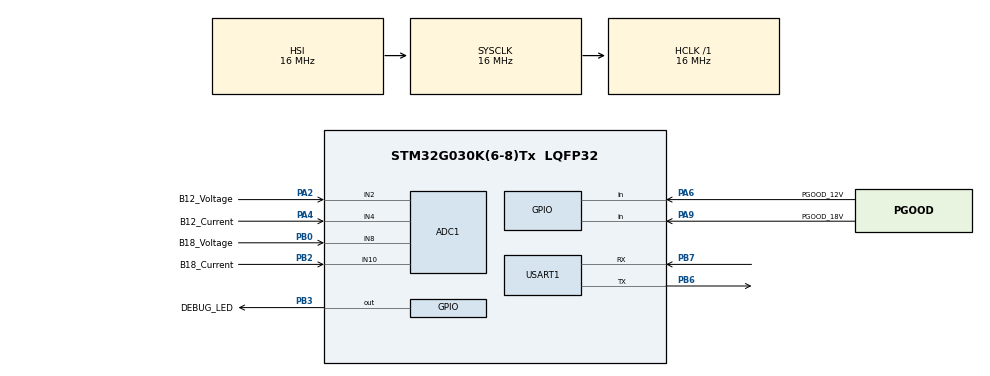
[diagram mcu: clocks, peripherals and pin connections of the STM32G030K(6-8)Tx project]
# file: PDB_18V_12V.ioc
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ADC1.Channel-1\#ChannelRegularConversion=ADC_CHANNEL_2
ADC1.NbrOfConversionFlag=1
ADC1.Rank-1\#ChannelRegularConversion=1
ADC1.SamplingTime-1\#ChannelRegularConversion=ADC_SAMPLINGTIME_COMMON_1
ADC1.SamplingTimeCommon1=ADC_SAMPLETIME_160CYCLES_5
ADC1.SamplingTimeCommon2=ADC_SAMPLETIME_160CYCLES_5
ADC1.SelectedChannel=ADC_CHANNEL_2|ADC_CHANNEL_4|ADC_CHANNEL_8|ADC_CHANNEL_10
ADC1.TriggerFrequencyMode=ADC_TRIGGER_FREQ_LOW
ADC1.master=1
Mcu.Family=STM32G0
Mcu.Name=STM32G030K(6-8)Tx
Mcu.Package=LQFP32
PA13.Mode=Serial_Wire
PA13.Signal=SYS_SWDIO
PA14-BOOT0.Mode=Serial_Wire
PA14-BOOT0.Signal=SYS_SWCLK
PA2.GPIO_Label=B12_Voltage
PA2.Mode=IN2
PA2.Signal=ADC1_IN2
PA4.GPIO_Label=B12_Current
PA4.Mode=IN4
PA4.Signal=ADC1_IN4
PA6.GPIO_Label=PGOOD_12V
PA6.Signal=GPIO_Input
PA9.GPIO_Label=PGOOD_18V
PA9.Signal=GPIO_Input
PB0.GPIO_Label=B18_Voltage
PB0.Mode=IN8
PB0.Signal=ADC1_IN8
PB2.GPIO_Label=B18_Current
PB2.Mode=IN10
PB2.Signal=ADC1_IN10
PB3.GPIO_Label=DEBUG_LED
PB3.Signal=GPIO_Output
PB6.Mode=Asynchronous
PB6.Signal=USART1_TX
PB7.Mode=Asynchronous
PB7.Signal=USART1_RX
ProjectManager.HeapSize=0x200
ProjectManager.StackSize=0x400
ProjectManager.TargetToolchain=STM32CubeIDE
RCC.AHBFreq_Value=16000000
RCC.CortexFreq_Value=16000000
RCC.EXTERNAL_CLOCK_VALUE=12288000
RCC.HCLKFreq_Value=16000000
RCC.HSE_VALUE=8000000
RCC.HSI_VALUE=16000000
RCC.LSE_VALUE=32768
RCC.SYSCLKFreq_VALUE=16000000
RCC.VCOOutputFreq_Value=128000000
USART1.VirtualMode-Asynchronous=VM_ASYNC
board=custom

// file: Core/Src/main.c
/* USER CODE BEGIN Header */
/**
  ******************************************************************************
  * @file           : main.c
  * @brief          : Main program body
  ******************************************************************************
  * @attention
  *
  * Copyright (c) 2026 STMicroelectronics.
  * All rights reserved.
  *
  * This software is licensed under terms that can be found in the LICENSE file
  * in the root directory of this software component.
  * If no LICENSE file comes with this software, it is provided AS-IS.
  *
  ******************************************************************************
  */
/* USER CODE END Header */
#include "main.h"

ADC_HandleTypeDef hadc1;

UART_HandleTypeDef huart1;

/* USER CODE BEGIN PV */

//[**********************Voltage/Current ADC****************************]//
/* Raw ADC readings */
uint32_t adc_18v_voltage_raw = 0;
uint32_t adc_18v_current_raw = 0;
uint32_t adc_12v_voltage_raw = 0;
uint32_t adc_12v_current_raw = 0;

/* ADC-converted voltages */
float adc_18v_voltage = 0.0f;
float adc_18v_current = 0.0f;
float adc_12v_voltage = 0.0f;
float adc_12v_current = 0.0f;

/* Calculated actual rail measurements */
float voltage_18v = 0.0f;
float current_18v = 0.0f;
float voltage_12v = 0.0f;
float current_12v = 0.0f;

//[**********************UART TX****************************]//
uint8_t uart_tx_packet[10];

/* USER CODE END PV */

void SystemClock_Config(void);
static void MX_GPIO_Init(void);
static void MX_USART1_UART_Init(void);
static void MX_ADC1_Init(void);

/* USER CODE BEGIN PFP */

//[**********************Voltage/Current ADC****************************]//
uint32_t ADC_Read_Channel(uint32_t channel);

float Calculate_18V_Voltage(float adc_voltage);
float Calculate_12V_Voltage(float adc_voltage);

float Calculate_Current(float adc_voltage);

//[**********************UART TX****************************]//

void UART_Send_Measurements(void);

/* USER CODE END PFP */

int main(void)
{

  /* MCU Configuration--------------------------------------------------------*/

  /* Reset of all peripherals, Initializes the Flash interface and the Systick. */
  HAL_Init();

  /* Configure the system clock */
  SystemClock_Config();

  /* Initialize all configured peripherals */
  MX_GPIO_Init();
  MX_USART1_UART_Init();
  MX_ADC1_Init();
  /* USER CODE BEGIN 2 */
  HAL_ADCEx_Calibration_Start(&hadc1);
  /* USER CODE END 2 */

  /* Infinite loop */
  while (1)
  {

    /* USER CODE BEGIN 3 */

  //[**********************Voltage/Current ADC****************************]//

	adc_18v_voltage_raw = ADC_Read_Channel(ADC_CHANNEL_2);

	adc_18v_voltage =
		((float)adc_18v_voltage_raw / 4095.0f) * 3.3f;

	voltage_18v = Calculate_18V_Voltage(adc_18v_voltage);

    adc_18v_current_raw = ADC_Read_Channel(ADC_CHANNEL_4);

    adc_18v_current =
        ((float)adc_18v_current_raw / 4095.0f) * 3.3f;

    current_18v = Calculate_Current(adc_18v_current);

    adc_12v_voltage_raw = ADC_Read_Channel(ADC_CHANNEL_8);

    adc_12v_voltage =
        ((float)adc_12v_voltage_raw / 4095.0f) * 3.3f;

    voltage_12v = Calculate_12V_Voltage(adc_12v_voltage);

    adc_12v_current_raw = ADC_Read_Channel(ADC_CHANNEL_10);

    adc_12v_current =
        ((float)adc_12v_current_raw / 4095.0f) * 3.3f;

    current_12v = Calculate_Current(adc_12v_current);

    //[**********************UART TX****************************]//
    UART_Send_Measurements();

    HAL_Delay(100);

    /* USER CODE END 3 */
  }
}

void SystemClock_Config(void)
{
  RCC_OscInitTypeDef RCC_OscInitStruct = {0};
  RCC_ClkInitTypeDef RCC_ClkInitStruct = {0};

  /** Configure the main internal regulator output voltage
  */
  HAL_PWREx_ControlVoltageScaling(PWR_REGULATOR_VOLTAGE_SCALE1);

  /** Initializes the RCC Oscillators according to the specified parameters
  * in the RCC_OscInitTypeDef structure.
  */
  RCC_OscInitStruct.OscillatorType = RCC_OSCILLATORTYPE_HSI;
  RCC_OscInitStruct.HSIState = RCC_HSI_ON;
  RCC_OscInitStruct.HSIDiv = RCC_HSI_DIV1;
  RCC_OscInitStruct.HSICalibrationValue = RCC_HSICALIBRATION_DEFAULT;
  RCC_OscInitStruct.PLL.PLLState = RCC_PLL_NONE;
  if (HAL_RCC_OscConfig(&RCC_OscInitStruct) != HAL_OK)
  {
    Error_Handler();
  }

  /** Initializes the CPU, AHB and APB buses clocks
  */
  RCC_ClkInitStruct.ClockType = RCC_CLOCKTYPE_HCLK|RCC_CLOCKTYPE_SYSCLK
                              |RCC_CLOCKTYPE_PCLK1;
  RCC_ClkInitStruct.SYSCLKSource = RCC_SYSCLKSOURCE_HSI;
  RCC_ClkInitStruct.AHBCLKDivider = RCC_SYSCLK_DIV1;
  RCC_ClkInitStruct.APB1CLKDivider = RCC_HCLK_DIV1;

  if (HAL_RCC_ClockConfig(&RCC_ClkInitStruct, FLASH_LATENCY_0) != HAL_OK)
  {
    Error_Handler();
  }
}

static void MX_ADC1_Init(void)
{

  ADC_ChannelConfTypeDef sConfig = {0};

  /** Configure the global features of the ADC (Clock, Resolution, Data Alignment and number of conversion)
  */
  hadc1.Instance = ADC1;
  hadc1.Init.ClockPrescaler = ADC_CLOCK_SYNC_PCLK_DIV2;
  hadc1.Init.Resolution = ADC_RESOLUTION_12B;
  hadc1.Init.DataAlign = ADC_DATAALIGN_RIGHT;
  hadc1.Init.ScanConvMode = ADC_SCAN_DISABLE;
  hadc1.Init.EOCSelection = ADC_EOC_SINGLE_CONV;
  hadc1.Init.LowPowerAutoWait = DISABLE;
  hadc1.Init.LowPowerAutoPowerOff = DISABLE;
  hadc1.Init.ContinuousConvMode = DISABLE;
  hadc1.Init.NbrOfConversion = 1;
  hadc1.Init.DiscontinuousConvMode = DISABLE;
  hadc1.Init.ExternalTrigConv = ADC_SOFTWARE_START;
  hadc1.Init.ExternalTrigConvEdge = ADC_EXTERNALTRIGCONVEDGE_NONE;
  hadc1.Init.DMAContinuousRequests = DISABLE;
  hadc1.Init.Overrun = ADC_OVR_DATA_PRESERVED;
  hadc1.Init.SamplingTimeCommon1 = ADC_SAMPLETIME_160CYCLES_5;
  hadc1.Init.SamplingTimeCommon2 = ADC_SAMPLETIME_160CYCLES_5;
  hadc1.Init.OversamplingMode = DISABLE;
  hadc1.Init.TriggerFrequencyMode = ADC_TRIGGER_FREQ_LOW;
  if (HAL_ADC_Init(&hadc1) != HAL_OK)
  {
    Error_Handler();
  }

  /** Configure Regular Channel
  */
  sConfig.Channel = ADC_CHANNEL_2;
  sConfig.Rank = ADC_REGULAR_RANK_1;
  sConfig.SamplingTime = ADC_SAMPLINGTIME_COMMON_1;
  if (HAL_ADC_ConfigChannel(&hadc1, &sConfig) != HAL_OK)
  {
    Error_Handler();
  }

}

static void MX_USART1_UART_Init(void)
{

  huart1.Instance = USART1;
  huart1.Init.BaudRate = 115200;
  huart1.Init.WordLength = UART_WORDLENGTH_8B;
  huart1.Init.StopBits = UART_STOPBITS_1;
  huart1.Init.Parity = UART_PARITY_NONE;
  huart1.Init.Mode = UART_MODE_TX_RX;
  huart1.Init.HwFlowCtl = UART_HWCONTROL_NONE;
  huart1.Init.OverSampling = UART_OVERSAMPLING_16;
  huart1.Init.OneBitSampling = UART_ONE_BIT_SAMPLE_DISABLE;
  huart1.Init.ClockPrescaler = UART_PRESCALER_DIV1;
  huart1.AdvancedInit.AdvFeatureInit = UART_ADVFEATURE_NO_INIT;
  if (HAL_UART_Init(&huart1) != HAL_OK)
  {
    Error_Handler();
  }
  if (HAL_UARTEx_SetTxFifoThreshold(&huart1, UART_TXFIFO_THRESHOLD_1_8) != HAL_OK)
  {
    Error_Handler();
  }
  if (HAL_UARTEx_SetRxFifoThreshold(&huart1, UART_RXFIFO_THRESHOLD_1_8) != HAL_OK)
  {
    Error_Handler();
  }
  if (HAL_UARTEx_DisableFifoMode(&huart1) != HAL_OK)
  {
    Error_Handler();
  }

}

static void MX_GPIO_Init(void)
{
  GPIO_InitTypeDef GPIO_InitStruct = {0};

  /* GPIO Ports Clock Enable */
  __HAL_RCC_GPIOA_CLK_ENABLE();
  __HAL_RCC_GPIOB_CLK_ENABLE();

  /*Configure GPIO pin Output Level */
  HAL_GPIO_WritePin(DEBUG_LED_GPIO_Port, DEBUG_LED_Pin, GPIO_PIN_RESET);

  /*Configure GPIO pins : PGOOD_12V_Pin PGOOD_18V_Pin */
  GPIO_InitStruct.Pin = PGOOD_12V_Pin|PGOOD_18V_Pin;
  GPIO_InitStruct.Mode = GPIO_MODE_INPUT;
  GPIO_InitStruct.Pull = GPIO_NOPULL;
  HAL_GPIO_Init(GPIOA, &GPIO_InitStruct);

  /*Configure GPIO pin : DEBUG_LED_Pin */
  GPIO_InitStruct.Pin = DEBUG_LED_Pin;
  GPIO_InitStruct.Mode = GPIO_MODE_OUTPUT_PP;
  GPIO_InitStruct.Pull = GPIO_NOPULL;
  GPIO_InitStruct.Speed = GPIO_SPEED_FREQ_LOW;
  HAL_GPIO_Init(DEBUG_LED_GPIO_Port, &GPIO_InitStruct);

}

/* USER CODE BEGIN 4 */

/**
  * @brief Read a single ADC channel
  * @param channel ADC channel to read
  * @retval Raw 12-bit ADC value (0-4095)
  */
uint32_t ADC_Read_Channel(uint32_t channel)
{
  ADC_ChannelConfTypeDef sConfig = {0};
  uint32_t adc_value = 0;

  /* Configure the ADC channel */
  sConfig.Channel = channel;
  sConfig.Rank = ADC_REGULAR_RANK_1;
  sConfig.SamplingTime = ADC_SAMPLINGTIME_COMMON_1;

  if (HAL_ADC_ConfigChannel(&hadc1, &sConfig) != HAL_OK)
  {
    Error_Handler();
  }

  /* Start ADC conversion */
  if (HAL_ADC_Start(&hadc1) != HAL_OK)
  {
    Error_Handler();
  }

  /* Wait for conversion to finish */
  if (HAL_ADC_PollForConversion(&hadc1, HAL_MAX_DELAY) != HAL_OK)
  {
    Error_Handler();
  }

  /* Get ADC result */
  adc_value = HAL_ADC_GetValue(&hadc1);

  /* Stop ADC */
  if (HAL_ADC_Stop(&hadc1) != HAL_OK)
  {
    Error_Handler();
  }

  return adc_value;
}

/**
  * @brief Calculate actual 18V rail voltage from ADC voltage
  * @param adc_voltage Voltage measured at PA2
  * @retval Actual 18V rail voltage
  *
  * Voltage divider:
  *
  * Vout = Vin * R2 / (R1 + R2)
  *
  * R1 = 10k
  * R2 = 2k
  *
  * Therefore:
  *
  * Vin = Vout * (10k + 2k) / 2k
  * Vin = Vout * 6
  */
float Calculate_18V_Voltage(float adc_voltage)
{
  return adc_voltage * 6.0f;
}

/**
  * @brief Calculate actual 12V rail voltage from ADC voltage
  * @param adc_voltage Voltage measured at PB0
  * @retval Actual 12V rail voltage
  *
  * Voltage divider:
  *
  * R1 = 6.2k
  * R2 = 2k
  *
  * Vin = Vout * (6.2k + 2k) / 2k
  * Vin = Vout * 4.1
  */
float Calculate_12V_Voltage(float adc_voltage)
{
  return adc_voltage * 4.1f;
}

/**
  * @brief Calculate current from TMCS1108 output voltage
  * @param adc_voltage Hall sensor output voltage
  * @retval Measured current in Amps
  *
  * TMCS1108:
  *
  * Zero-current output = 0.5 * Vs
  * Sensitivity = 50 mV/A = 0.05 V/A
  *
  * Assuming Vs = 3.3V:
  *
  * Vzero = 1.65V
  *
  * I = (Vout - 1.65V) / 0.05V/A
  */
float Calculate_Current(float adc_voltage)
{
  const float sensor_zero_voltage = 1.65f;
  const float sensor_sensitivity = 0.05f;

  return (adc_voltage - sensor_zero_voltage) / sensor_sensitivity;
}

/**
  * @brief Send a voltage/current message over UART1
  * @param None
  * @retval None
  */
void UART_Send_Measurements(void)
{
    uint16_t v18 = (uint16_t)(voltage_18v * 100.0f);
    int16_t  i18 = (int16_t)(current_18v * 100.0f);
    uint16_t v12 = (uint16_t)(voltage_12v * 100.0f);
    int16_t  i12 = (int16_t)(current_12v * 100.0f);

    /* Packet header */
    uart_tx_packet[0] = 0xAA;
    uart_tx_packet[1] = 0x55;

    uart_tx_packet[2] = (uint8_t)(v18 >> 8);
    uart_tx_packet[3] = (uint8_t)v18;

    uart_tx_packet[4] = (uint8_t)((uint16_t)i18 >> 8);
    uart_tx_packet[5] = (uint8_t)i18;

    uart_tx_packet[6] = (uint8_t)(v12 >> 8);
    uart_tx_packet[7] = (uint8_t)v12;

    uart_tx_packet[8] = (uint8_t)((uint16_t)i12 >> 8);
    uart_tx_packet[9] = (uint8_t)i12;

    HAL_UART_Transmit(
        &huart1,
        uart_tx_packet,
        sizeof(uart_tx_packet),
        HAL_MAX_DELAY
    );
}

/* USER CODE END 4 */

void Error_Handler(void)
{
  __disable_irq();
  while (1)
  {
  }
}
